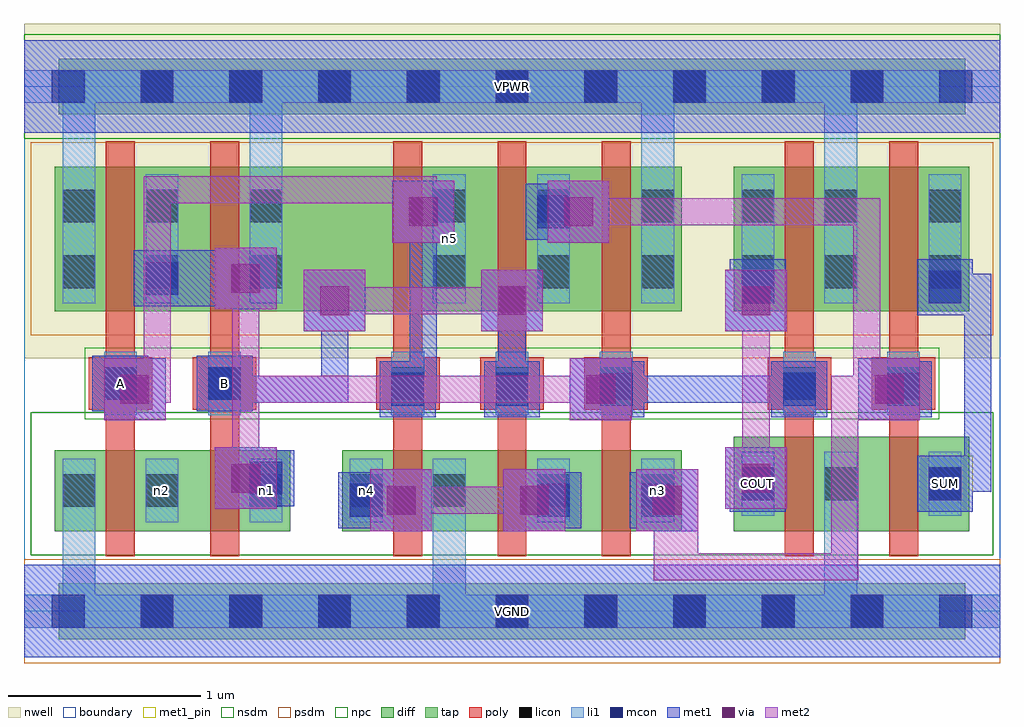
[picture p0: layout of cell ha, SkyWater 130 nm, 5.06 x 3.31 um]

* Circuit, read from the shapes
.subckt ha A B COUT SUM VGND VPWR n1 n2 n3 n4 n5
XM1 n2 A VGND VGND sky130_fd_pr__nfet_01v8 w=0.42 l=0.15
XM2 n1 B n2 VGND sky130_fd_pr__nfet_01v8 w=0.42 l=0.15
XM3 VGND A n4 VGND sky130_fd_pr__nfet_01v8 w=0.42 l=0.15
XM4 n4 B VGND VGND sky130_fd_pr__nfet_01v8 w=0.42 l=0.15
XM5 n3 n1 n4 VGND sky130_fd_pr__nfet_01v8 w=0.42 l=0.15
XM6 VGND n1 COUT VGND sky130_fd_pr__nfet_01v8 w=0.49 l=0.15
XM7 SUM n3 VGND VGND sky130_fd_pr__nfet_01v8 w=0.49 l=0.15
XM8 n1 A VPWR VPWR sky130_fd_pr__pfet_01v8 w=0.75 l=0.15
XM9 VPWR B n1 VPWR sky130_fd_pr__pfet_01v8 w=0.75 l=0.15
XM10 n5 A VPWR VPWR sky130_fd_pr__pfet_01v8 w=0.75 l=0.15
XM11 n3 B n5 VPWR sky130_fd_pr__pfet_01v8 w=0.75 l=0.15
XM12 VPWR n1 n3 VPWR sky130_fd_pr__pfet_01v8 w=0.75 l=0.15
XM13 VPWR n1 COUT VPWR sky130_fd_pr__pfet_01v8 w=0.75 l=0.15
XM14 SUM n3 VPWR VPWR sky130_fd_pr__pfet_01v8 w=0.75 l=0.15
.ends

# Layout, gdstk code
import gdstk
lib = gdstk.Library(unit=1e-6, precision=1e-09)
def R(c, l, rs):  # rectangles x0, y0, x1, y1
    for r in rs: c.add(gdstk.rectangle(r[:2], r[2:], *l))
def A(c, l, x, y, w, h, nx, ny, dx, dy):  # array of equal rectangles
    R(c, l, [(x+i*dx, y+j*dy, x+i*dx+w, y+j*dy+h) for i in range(nx) for j in range(ny)])
nwell = (64, 20)
diff = (65, 20)
tap = (65, 44)
poly = (66, 20)
licon = (66, 44)
li1 = (67, 20)
mcon = (67, 44)
met1_pin = (68, 16)
met1 = (68, 20)
via = (68, 44)
met2 = (69, 20)
nsdm = (93, 44)
psdm = (94, 20)
npc = (95, 20)
boundary = (235, 4)

c_ha = lib.new_cell('ha')
R(c_ha, nwell, [(0,1.31,5.06,3.045)])
R(c_ha, diff, [(0.16,0.415,1.38,0.835), (1.65,0.415,3.41,0.835), (3.68,0.415,4.9,0.905), (0.16,1.555,3.41,2.305), (3.68,1.555,4.9,2.305)])
R(c_ha, tap, [(0.18,-0.145,4.88,0.145), (0.18,2.575,4.88,2.865)])
A(c_ha, poly, 1.915, 0.285, 0.15, 2.15, 3, 1, 0.54, 0)
A(c_ha, poly, 1.825, 1.045, 0.33, 0.27, 3, 1, 0.54, 0)
R(c_ha, poly, [(0.425,0.285,0.575,2.435), (0.965,0.285,1.115,2.435), (3.945,0.285,4.095,2.435), (4.485,0.285,4.635,2.435), (0.335,1.045,0.665,1.315), (0.875,1.045,1.205,1.315), (3.855,1.045,4.185,1.315), (4.395,1.045,4.725,1.315)])
A(c_ha, licon, 0.605, -0.085, 0.17, 0.17, 9, 2, 0.46, 2.72)
A(c_ha, licon, 2.12, 0.54, 0.17, 0.17, 3, 2, 0.54, 1.135)
A(c_ha, licon, 1.905, 1.095, 0.17, 0.17, 3, 1, 0.54, 0)
A(c_ha, licon, 2.12, 2.015, 0.17, 0.17, 3, 1, 0.54, 0)
R(c_ha, licon, [(0.2,0.54,0.37,0.71), (0.63,0.54,0.8,0.71), (1.17,0.54,1.34,0.71), (1.69,0.54,1.86,0.71), (3.72,0.575,3.89,0.745), (4.15,0.575,4.32,0.745), (4.69,0.575,4.86,0.745), (0.415,1.095,0.585,1.265), (0.955,1.095,1.125,1.265), (3.935,1.095,4.105,1.265), (4.475,1.095,4.645,1.265), (0.2,1.675,0.37,1.845), (0.63,1.675,0.8,1.845), (1.17,1.675,1.34,1.845), (3.72,1.675,3.89,1.845), (4.15,1.675,4.32,1.845), (4.69,1.675,4.86,1.845), (0.2,2.015,0.37,2.185), (0.63,2.015,0.8,2.185), (1.17,2.015,1.34,2.185), (3.72,2.015,3.89,2.185), (4.15,2.015,4.32,2.185), (4.69,2.015,4.86,2.185)])
A(c_ha, li1, 2.12, 0.46, 0.17, 0.33, 3, 1, 0.54, 0)
A(c_ha, li1, 1.905, 1.015, 0.17, 0.33, 3, 1, 0.54, 0)
A(c_ha, li1, 2.12, 1.595, 0.17, 0.67, 3, 1, 0.54, 0)
R(c_ha, li1, [(0,-0.085,5.06,0.085), (0.2,-0.085,0.37,0.79), (2.12,-0.085,2.29,0.79), (4.15,-0.085,4.32,0.825), (0.2,0.46,0.37,0.79), (0.63,0.46,0.8,0.79), (1.17,0.46,1.34,0.79), (1.69,0.46,1.86,0.79), (3.72,0.495,3.89,0.825), (4.15,0.495,4.32,0.825), (4.69,0.495,4.86,0.825), (0.415,1.015,0.585,1.345), (0.955,1.015,1.125,1.345), (3.935,1.015,4.105,1.345), (4.475,1.015,4.645,1.345), (0.2,1.595,0.37,2.265), (0.2,1.595,0.37,2.805), (0.63,1.595,0.8,2.265), (1.17,1.595,1.34,2.265), (1.17,1.595,1.34,2.805), (3.2,1.595,3.37,2.805), (3.72,1.595,3.89,2.265), (4.15,1.595,4.32,2.265), (4.15,1.595,4.32,2.805), (4.69,1.595,4.86,2.265), (0,2.635,5.06,2.805)])
A(c_ha, mcon, 0.145, -0.085, 0.17, 0.17, 11, 2, 0.46, 2.72)
A(c_ha, mcon, 1.905, 1.065, 0.17, 0.17, 3, 1, 0.54, 0)
R(c_ha, mcon, [(1.69,0.49,1.86,0.66), (2.66,0.49,2.83,0.66), (3.2,0.49,3.37,0.66), (3.72,0.575,3.89,0.745), (4.69,0.575,4.86,0.745), (1.17,0.605,1.34,0.775), (3.935,1.065,4.105,1.235), (4.475,1.065,4.645,1.235), (0.415,1.095,0.585,1.265), (0.955,1.095,1.125,1.265), (3.72,1.595,3.89,1.765), (4.69,1.595,4.86,1.765), (0.63,1.64,0.8,1.81), (2.66,1.985,2.83,2.155)])
R(c_ha, met1_pin, [(0,-0.24,5.06,0.24), (3.66,0.515,3.95,0.805), (4.63,0.515,4.92,0.805), (0.355,1.035,0.645,1.325), (0.895,1.035,1.185,1.325), (0,2.48,5.06,2.96)])
A(c_ha, met1, 1.795, 0.415, 0.32, 0.32, 3, 1, 0.69, 0)
A(c_ha, met1, 1.845, 1.005, 0.29, 0.29, 3, 1, 0.54, 0)
R(c_ha, met1, [(0,-0.24,5.06,0.24), (1.63,0.43,1.92,0.72), (2.6,0.43,2.89,0.72), (3.14,0.43,3.43,0.72), (1.705,0.505,2.025,0.645), (2.575,0.505,2.815,0.645), (3.215,0.505,3.405,0.645), (3.66,0.515,3.95,0.805), (4.63,0.515,4.92,0.805), (0.99,0.53,1.31,0.85), (3.635,0.53,3.955,0.85), (1.11,0.545,1.4,0.835), (1.08,0.62,1.325,0.76), (3.725,0.62,3.865,0.76), (4.76,0.62,4.9,0.76), (4.76,0.62,5.015,0.76), (4.875,0.62,5.015,1.565), (0.415,0.99,0.735,1.31), (2.83,0.99,3.15,1.31), (4.325,0.99,4.645,1.31), (3.875,1.005,4.165,1.295), (4.415,1.005,4.705,1.295), (0.355,1.035,0.645,1.325), (0.895,1.035,1.185,1.325), (0.505,1.08,0.645,1.22), (0.965,1.08,1.105,1.22), (0.965,1.08,1.68,1.22), (1.54,1.08,1.68,1.68), (1.92,1.08,2.14,1.22), (2,1.08,2.14,2.14), (2.46,1.08,2.6,1.68), (2.92,1.08,3.14,1.22), (2.92,1.08,3.98,1.22), (3.84,1.08,4.09,1.22), (4.415,1.08,4.63,1.22), (4.875,1.425,5.015,1.75), (1.45,1.45,1.77,1.77), (2.37,1.45,2.69,1.77), (3.635,1.45,3.955,1.77), (3.66,1.535,3.95,1.825), (4.63,1.535,4.92,1.825), (3.725,1.54,3.865,1.75), (0.99,1.565,1.31,1.885), (0.57,1.58,0.86,1.87), (0.86,1.58,0.99,1.87), (3.725,1.61,3.875,1.75), (4.705,1.61,5.015,1.75), (0.645,1.655,0.875,1.795), (0.735,1.655,1.22,1.795), (1.91,1.91,2.23,2.23), (2.715,1.91,3.035,2.23), (2.6,1.925,2.89,2.215), (2.675,2,2.945,2.14), (0,2.48,5.06,2.96)])
A(c_ha, via, 1.88, 0.5, 0.15, 0.15, 3, 1, 0.69, 0)
R(c_ha, via, [(1.075,0.615,1.225,0.765), (3.72,0.615,3.87,0.765), (0.5,1.075,0.65,1.225), (2.915,1.075,3.065,1.225), (4.41,1.075,4.56,1.225), (1.535,1.535,1.685,1.685), (2.455,1.535,2.605,1.685), (3.72,1.535,3.87,1.685), (1.075,1.65,1.225,1.8), (1.995,1.995,2.145,2.145), (2.8,1.995,2.95,2.145)])
A(c_ha, met2, 1.795, 0.415, 0.32, 0.32, 3, 1, 0.69, 0)
R(c_ha, met2, [(3.265,0.16,3.405,0.645), (3.265,0.16,4.325,0.3), (4.185,0.16,4.325,1.22), (3.265,0.3,3.495,0.415), (1.885,0.505,2.715,0.645), (0.99,0.53,1.31,0.85), (3.635,0.53,3.955,0.85), (1.08,0.62,1.22,1.795), (3.725,0.62,3.865,1.68), (0.415,0.99,0.735,1.31), (2.83,0.99,3.15,1.31), (4.325,0.99,4.645,1.31), (0.505,1.08,0.76,1.22), (0.62,1.08,0.76,2.255), (1.08,1.08,3.06,1.22), (4.185,1.08,4.555,1.22), (4.3,1.08,4.44,2.14), (1.45,1.45,1.77,1.77), (2.37,1.45,2.69,1.77), (3.635,1.45,3.955,1.77), (1.54,1.54,2.6,1.68), (0.99,1.565,1.31,1.885), (1.91,1.91,2.23,2.23), (2.715,1.91,3.035,2.23), (2,2,2.14,2.255), (2.805,2,4.44,2.14), (0.62,2.115,2.14,2.255)])
R(c_ha, nsdm, [(0.035,0.29,5.025,1.03), (0,2.45,5.06,2.99)])
R(c_ha, psdm, [(0,-0.27,5.06,0.27), (0.035,1.43,5.025,2.43)])
R(c_ha, npc, [(0.315,0.995,4.745,1.365)])
R(c_ha, boundary, [(0,0,5.06,2.72)])
c_ha.add(gdstk.Label('n2', (0.715,0.625), layer=67, texttype=5))
c_ha.add(gdstk.Label('n1', (1.255,0.625), layer=67, texttype=5))
c_ha.add(gdstk.Label('n4', (1.775,0.625), layer=67, texttype=5))
c_ha.add(gdstk.Label('n3', (3.285,0.625), layer=67, texttype=5))
c_ha.add(gdstk.Label('n5', (2.205,1.93), layer=67, texttype=5))
c_ha.add(gdstk.Label('A', (0.5,1.18), layer=68, texttype=5))
c_ha.add(gdstk.Label('B', (1.04,1.18), layer=68, texttype=5))
c_ha.add(gdstk.Label('COUT', (3.805,0.66), layer=68, texttype=5))
c_ha.add(gdstk.Label('SUM', (4.775,0.66), layer=68, texttype=5))
c_ha.add(gdstk.Label('VPWR', (2.53,2.72), layer=68, texttype=5))
c_ha.add(gdstk.Label('VGND', (2.53,0), layer=68, texttype=5))
c_ha.add(gdstk.Label('A', (0.5,1.18), layer=68, texttype=16))
c_ha.add(gdstk.Label('B', (1.04,1.18), layer=68, texttype=16))
c_ha.add(gdstk.Label('COUT', (3.805,0.66), layer=68, texttype=16))
c_ha.add(gdstk.Label('SUM', (4.775,0.66), layer=68, texttype=16))
c_ha.add(gdstk.Label('VPWR', (2.53,2.72), layer=68, texttype=16))
c_ha.add(gdstk.Label('VGND', (2.53,0), layer=68, texttype=16))

lib.write_gds('ha.gds')
